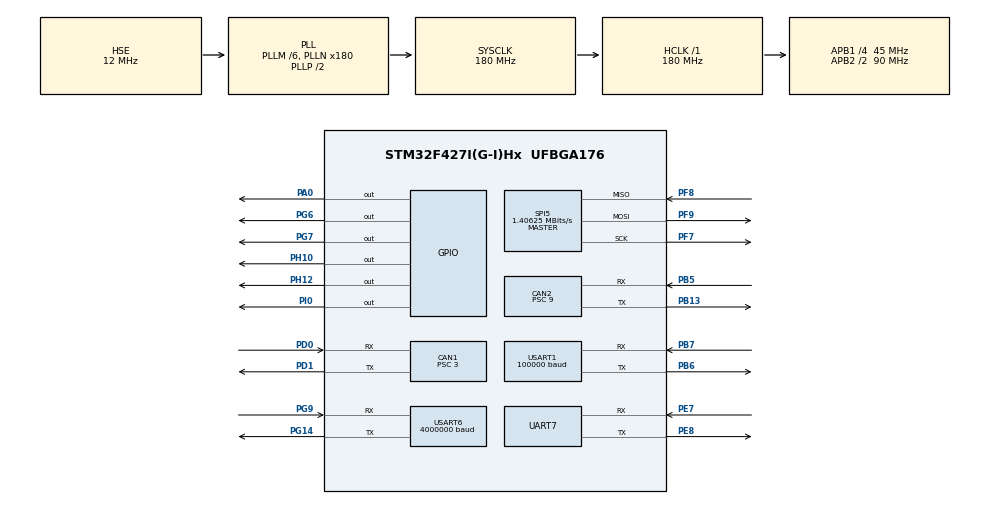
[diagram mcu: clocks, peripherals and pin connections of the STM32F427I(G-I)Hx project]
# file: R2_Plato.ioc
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CAN1.BS1=CAN_BS1_13TQ
CAN1.CalculateBaudRate=1000000
CAN1.CalculateTimeBit=1000
CAN1.CalculateTimeQuantum=66.66666666666666
CAN1.Prescaler=3
CAN2.BS1=CAN_BS1_6TQ
CAN2.BS2=CAN_BS2_7TQ
CAN2.CalculateBaudRate=357142
CAN2.CalculateTimeBit=2800
CAN2.CalculateTimeQuantum=200.0
CAN2.Prescaler=9
Dma.Request0=USART6_RX
Dma.Request1=USART6_TX
Dma.Request2=UART7_RX
Dma.Request3=UART7_TX
Dma.Request4=SPI5_RX
Dma.Request5=SPI5_TX
Dma.SPI5_RX.4.Direction=DMA_PERIPH_TO_MEMORY
Dma.SPI5_RX.4.FIFOMode=DMA_FIFOMODE_DISABLE
Dma.SPI5_RX.4.Instance=DMA2_Stream3
Dma.SPI5_RX.4.MemDataAlignment=DMA_MDATAALIGN_BYTE
Dma.SPI5_RX.4.MemInc=DMA_MINC_ENABLE
Dma.SPI5_RX.4.Mode=DMA_NORMAL
Dma.SPI5_RX.4.PeriphDataAlignment=DMA_PDATAALIGN_BYTE
Dma.SPI5_RX.4.PeriphInc=DMA_PINC_DISABLE
Dma.SPI5_RX.4.Priority=DMA_PRIORITY_HIGH
Dma.SPI5_TX.5.Direction=DMA_MEMORY_TO_PERIPH
Dma.SPI5_TX.5.FIFOMode=DMA_FIFOMODE_DISABLE
Dma.SPI5_TX.5.Instance=DMA2_Stream4
Dma.SPI5_TX.5.MemDataAlignment=DMA_MDATAALIGN_BYTE
Dma.SPI5_TX.5.MemInc=DMA_MINC_ENABLE
Dma.SPI5_TX.5.Mode=DMA_NORMAL
Dma.SPI5_TX.5.PeriphDataAlignment=DMA_PDATAALIGN_BYTE
Dma.SPI5_TX.5.PeriphInc=DMA_PINC_DISABLE
Dma.SPI5_TX.5.Priority=DMA_PRIORITY_HIGH
Dma.UART7_RX.2.Direction=DMA_PERIPH_TO_MEMORY
Dma.UART7_RX.2.FIFOMode=DMA_FIFOMODE_DISABLE
Dma.UART7_RX.2.Instance=DMA1_Stream3
Dma.UART7_RX.2.MemDataAlignment=DMA_MDATAALIGN_BYTE
Dma.UART7_RX.2.MemInc=DMA_MINC_ENABLE
Dma.UART7_RX.2.Mode=DMA_CIRCULAR
Dma.UART7_RX.2.PeriphDataAlignment=DMA_PDATAALIGN_BYTE
Dma.UART7_RX.2.PeriphInc=DMA_PINC_DISABLE
Dma.UART7_RX.2.Priority=DMA_PRIORITY_VERY_HIGH
Dma.UART7_TX.3.Direction=DMA_MEMORY_TO_PERIPH
Dma.UART7_TX.3.FIFOMode=DMA_FIFOMODE_DISABLE
Dma.UART7_TX.3.Instance=DMA1_Stream1
Dma.UART7_TX.3.MemDataAlignment=DMA_MDATAALIGN_BYTE
Dma.UART7_TX.3.MemInc=DMA_MINC_ENABLE
Dma.UART7_TX.3.Mode=DMA_NORMAL
Dma.UART7_TX.3.PeriphDataAlignment=DMA_PDATAALIGN_BYTE
Dma.UART7_TX.3.PeriphInc=DMA_PINC_DISABLE
Dma.UART7_TX.3.Priority=DMA_PRIORITY_VERY_HIGH
Dma.USART6_RX.0.Direction=DMA_PERIPH_TO_MEMORY
Dma.USART6_RX.0.FIFOMode=DMA_FIFOMODE_DISABLE
Dma.USART6_RX.0.Instance=DMA2_Stream1
Dma.USART6_RX.0.MemDataAlignment=DMA_MDATAALIGN_BYTE
Dma.USART6_RX.0.MemInc=DMA_MINC_ENABLE
Dma.USART6_RX.0.Mode=DMA_NORMAL
Dma.USART6_RX.0.PeriphDataAlignment=DMA_PDATAALIGN_BYTE
Dma.USART6_RX.0.PeriphInc=DMA_PINC_DISABLE
Dma.USART6_RX.0.Priority=DMA_PRIORITY_LOW
Dma.USART6_TX.1.Direction=DMA_MEMORY_TO_PERIPH
Dma.USART6_TX.1.FIFOMode=DMA_FIFOMODE_DISABLE
Dma.USART6_TX.1.Instance=DMA2_Stream6
Dma.USART6_TX.1.MemDataAlignment=DMA_MDATAALIGN_BYTE
Dma.USART6_TX.1.MemInc=DMA_MINC_ENABLE
Dma.USART6_TX.1.Mode=DMA_NORMAL
Dma.USART6_TX.1.PeriphDataAlignment=DMA_PDATAALIGN_BYTE
Dma.USART6_TX.1.PeriphInc=DMA_PINC_DISABLE
Dma.USART6_TX.1.Priority=DMA_PRIORITY_LOW
FREERTOS.Tasks01=defaultTask,0,128,StartDefaultTask,Default,NULL,Dynamic,NULL,NULL;myTask02,2,512,chassis_task,Default,NULL,Dynamic,NULL,NULL;myTask03,2,512,motor_control_task,Default,NULL,Dynamic,NULL,NULL
Mcu.Family=STM32F4
Mcu.Name=STM32F427I(G-I)Hx
Mcu.Package=UFBGA176
NVIC.CAN1_RX0_IRQn=true\:5\:0\:false\:false\:true\:true\:true\:true\:true
NVIC.DMA1_Stream1_IRQn=true\:5\:0\:false\:false\:true\:true\:false\:true\:true
NVIC.DMA1_Stream3_IRQn=true\:5\:0\:false\:false\:true\:true\:false\:true\:true
NVIC.DMA2_Stream1_IRQn=true\:5\:0\:false\:false\:true\:true\:false\:true\:true
NVIC.DMA2_Stream3_IRQn=true\:5\:0\:false\:false\:true\:true\:false\:true\:true
NVIC.DMA2_Stream4_IRQn=true\:5\:0\:false\:false\:true\:true\:false\:true\:true
NVIC.DMA2_Stream6_IRQn=true\:5\:0\:false\:false\:true\:true\:false\:true\:true
NVIC.PriorityGroup=NVIC_PRIORITYGROUP_4
NVIC.UART7_IRQn=true\:5\:0\:false\:false\:true\:true\:true\:true\:true
NVIC.USART6_IRQn=true\:5\:0\:false\:false\:true\:true\:true\:true\:true
PA0/WKUP.Signal=GPIO_Output
PA13.Mode=Serial_Wire
PA13.Signal=SYS_JTMS-SWDIO
PA14.Mode=Serial_Wire
PA14.Signal=SYS_JTCK-SWCLK
PB13.Mode=CAN_Activate
PB13.Signal=CAN2_TX
PB5.Mode=CAN_Activate
PB5.Signal=CAN2_RX
PB6.Mode=Asynchronous
PB6.Signal=USART1_TX
PB7.Mode=Asynchronous
PB7.Signal=USART1_RX
PC14/OSC32_IN.Mode=LSE-External-Oscillator
PC14/OSC32_IN.Signal=RCC_OSC32_IN
PC15/OSC32_OUT.Mode=LSE-External-Oscillator
PC15/OSC32_OUT.Signal=RCC_OSC32_OUT
PD0.Mode=CAN_Activate
PD0.Signal=CAN1_RX
PD1.Mode=CAN_Activate
PD1.Signal=CAN1_TX
PE7.Mode=Asynchronous
PE7.Signal=UART7_RX
PE8.Mode=Asynchronous
PE8.Signal=UART7_TX
PF7.Mode=Full_Duplex_Master
PF7.Signal=SPI5_SCK
PF8.Mode=Full_Duplex_Master
PF8.Signal=SPI5_MISO
PF9.Mode=Full_Duplex_Master
PF9.Signal=SPI5_MOSI
PG14.Mode=Asynchronous
PG14.Signal=USART6_TX
PG6.Signal=GPIO_Output
PG7.Signal=GPIO_Output
PG9.Mode=Asynchronous
PG9.Signal=USART6_RX
PH0/OSC_IN.Mode=HSE-External-Oscillator
PH0/OSC_IN.Signal=RCC_OSC_IN
PH1/OSC_OUT.Mode=HSE-External-Oscillator
PH1/OSC_OUT.Signal=RCC_OSC_OUT
PH10.Signal=GPIO_Output
PH12.Signal=GPIO_Output
PI0.Signal=GPIO_Output
ProjectManager.HeapSize=0x200
ProjectManager.StackSize=0x400
ProjectManager.TargetToolchain=MDK-ARM V5.32
RCC.48MHZClocksFreq_Value=90000000
RCC.AHBFreq_Value=180000000
RCC.APB1CLKDivider=RCC_HCLK_DIV4
RCC.APB1Freq_Value=45000000
RCC.APB1TimFreq_Value=90000000
RCC.APB2CLKDivider=RCC_HCLK_DIV2
RCC.APB2Freq_Value=90000000
RCC.APB2TimFreq_Value=180000000
RCC.CortexFreq_Value=180000000
RCC.HCLKFreq_Value=180000000
RCC.HSE_VALUE=12000000
RCC.HSI_VALUE=16000000
RCC.PLLM=6
RCC.PLLN=180
RCC.PLLSourceVirtual=RCC_PLLSOURCE_HSE
RCC.SYSCLKFreq_VALUE=180000000
RCC.SYSCLKSource=RCC_SYSCLKSOURCE_PLLCLK
RCC.VCOOutputFreq_Value=360000000
SPI5.BaudRatePrescaler=SPI_BAUDRATEPRESCALER_64
SPI5.CLKPhase=SPI_PHASE_2EDGE
SPI5.CalculateBaudRate=1.40625 MBits/s
SPI5.Direction=SPI_DIRECTION_2LINES
SPI5.Mode=SPI_MODE_MASTER
SPI5.VirtualType=VM_MASTER
UART7.VirtualMode=Asynchronous
USART1.BaudRate=100000
USART1.Parity=PARITY_EVEN
USART1.StopBits=STOPBITS_2
USART1.VirtualMode=VM_ASYNC
USART6.BaudRate=4000000
USART6.VirtualMode=VM_ASYNC
VP_FREERTOS_VS_CMSIS_V1.Mode=CMSIS_V1
board=custom

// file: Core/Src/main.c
/* USER CODE BEGIN Header */
/**
  ******************************************************************************
  * @file           : main.c
  * @brief          : Main program body
  ******************************************************************************
  * @attention
  *
  * Copyright (c) 2026 STMicroelectronics.
  * All rights reserved.
  *
  * This software is licensed under terms that can be found in the LICENSE file
  * in the root directory of this software component.
  * If no LICENSE file comes with this software, it is provided AS-IS.
  *
  ******************************************************************************
  */
/* USER CODE END Header */
#include "main.h"
#include "cmsis_os.h"
#include "can.h"
#include "dma.h"
#include "spi.h"
#include "usart.h"
#include "gpio.h"

void SystemClock_Config(void);
void MX_FREERTOS_Init(void);

int main(void)
{

  /* MCU Configuration--------------------------------------------------------*/

  /* Reset of all peripherals, Initializes the Flash interface and the Systick. */
  HAL_Init();

  /* Configure the system clock */
  SystemClock_Config();

  /* Initialize all configured peripherals */
  MX_GPIO_Init();
  MX_DMA_Init();
  MX_CAN1_Init();
  MX_USART1_UART_Init();
  MX_USART6_UART_Init();
  MX_CAN2_Init();
  MX_UART7_Init();
  MX_SPI5_Init();

  /* Call init function for freertos objects (in cmsis_os2.c) */
  MX_FREERTOS_Init();

  /* Start scheduler */
  osKernelStart();

  /* We should never get here as control is now taken by the scheduler */

  /* Infinite loop */
  while (1)
  {

  }
}

void SystemClock_Config(void)
{
  RCC_OscInitTypeDef RCC_OscInitStruct = {0};
  RCC_ClkInitTypeDef RCC_ClkInitStruct = {0};

  /** Configure the main internal regulator output voltage
  */
  __HAL_RCC_PWR_CLK_ENABLE();
  __HAL_PWR_VOLTAGESCALING_CONFIG(PWR_REGULATOR_VOLTAGE_SCALE1);

  /** Initializes the RCC Oscillators according to the specified parameters
  * in the RCC_OscInitTypeDef structure.
  */
  RCC_OscInitStruct.OscillatorType = RCC_OSCILLATORTYPE_HSE;
  RCC_OscInitStruct.HSEState = RCC_HSE_ON;
  RCC_OscInitStruct.PLL.PLLState = RCC_PLL_ON;
  RCC_OscInitStruct.PLL.PLLSource = RCC_PLLSOURCE_HSE;
  RCC_OscInitStruct.PLL.PLLM = 6;
  RCC_OscInitStruct.PLL.PLLN = 180;
  RCC_OscInitStruct.PLL.PLLP = RCC_PLLP_DIV2;
  RCC_OscInitStruct.PLL.PLLQ = 4;
  if (HAL_RCC_OscConfig(&RCC_OscInitStruct) != HAL_OK)
  {
    Error_Handler();
  }

  /** Activate the Over-Drive mode
  */
  if (HAL_PWREx_EnableOverDrive() != HAL_OK)
  {
    Error_Handler();
  }

  /** Initializes the CPU, AHB and APB buses clocks
  */
  RCC_ClkInitStruct.ClockType = RCC_CLOCKTYPE_HCLK|RCC_CLOCKTYPE_SYSCLK
                              |RCC_CLOCKTYPE_PCLK1|RCC_CLOCKTYPE_PCLK2;
  RCC_ClkInitStruct.SYSCLKSource = RCC_SYSCLKSOURCE_PLLCLK;
  RCC_ClkInitStruct.AHBCLKDivider = RCC_SYSCLK_DIV1;
  RCC_ClkInitStruct.APB1CLKDivider = RCC_HCLK_DIV4;
  RCC_ClkInitStruct.APB2CLKDivider = RCC_HCLK_DIV2;

  if (HAL_RCC_ClockConfig(&RCC_ClkInitStruct, FLASH_LATENCY_5) != HAL_OK)
  {
    Error_Handler();
  }
}

void Error_Handler(void)
{
  __disable_irq();
  while (1)
  {
  }
}

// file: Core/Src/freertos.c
/* USER CODE BEGIN Header */
/**
  ******************************************************************************
  * File Name          : freertos.c
  * Description        : Code for freertos applications
  ******************************************************************************
  * @attention
  *
  * Copyright (c) 2026 STMicroelectronics.
  * All rights reserved.
  *
  * This software is licensed under terms that can be found in the LICENSE file
  * in the root directory of this software component.
  * If no LICENSE file comes with this software, it is provided AS-IS.
  *
  ******************************************************************************
  */
/* USER CODE END Header */

#include "FreeRTOS.h"
#include "task.h"
#include "main.h"
#include "cmsis_os.h"

/* USER CODE BEGIN Includes */
#include "usart.h"
#include "sbus.h"
#include "bsp_can.h"
#include "pid.h"
#include "struct_typedef.h"
#include <stdio.h>
#include <string.h>
#include "gom_protocol.h"
#include "spi.h"
#include "imu_mpu6500.h"
#include "chassis_yaw_control.h"
#include "actuator_control.h"
#include "Unitree_control.h"
#include "chassis_control.h"
#include "chassis.h"
#include "drv_bsp.h"
#include "drv_can.h"
#include "dvc_motor.h"
#include "dvc_motor_dm.h"
#include "gpio.h"
#include "vofa_uart.h"
#include "actuator_control.h"
#include "chassis_task.h"
/* USER CODE END Includes */

/* USER CODE BEGIN PTD */
//pid_type_def chassis_pid[4];

uint32_t Counter = 0;
#define SAMPLE_FREQ 100.0f // 每秒采样 100 次
#define WAVE_FREQ 5.0f      // 波形频率 5Hz
/* 2π */
#define TWO_PI 6.28318530718f
float t = 0.0f; // 时间（秒）
const float dt = 1.0f / SAMPLE_FREQ;
int cbc=0;
/* USER CODE END PTD */

/* USER CODE BEGIN Variables */
extern motor_measure_t motor_chassis[7];
extern MotorData_t data[4];
extern uint16_t CH[18];
extern uint8_t pre_catch_buf[1];
volatile uint8_t gripper_cmd = 0x1 ; // 夹爪指令0xFF = no command, 0 = open, 1 = close
volatile uint8_t cylinder_cmd_1 = 0x01; /* 前轮迷你气缸: 0=伸出, 1=收回, 0xFF=无命令 */
volatile uint8_t cylinder_cmd_2 = 0x01; /* 后轮迷你气缸: 0=伸出, 1=收回, 0xFF=无命令 */
volatile uint8_t suction_cmd  = 0x00; /* 吸盘:   0=释放, 1=吸取, 0xFF=无命令 */
/* USER CODE END Variables */
osThreadId defaultTaskHandle;
osThreadId myTask02Handle;
osThreadId myTask03Handle;

/* USER CODE BEGIN FunctionPrototypes */
//void CAN_Motor_Call_Back(Struct_CAN_Rx_Buffer *Rx_Buffer)
//{
//    Actuator_CAN_RxCpltCallback(Rx_Buffer);
//    Chassis_3508_CAN_RxCallback(Rx_Buffer);
//}
void CAN_Motor_Call_Back(Struct_CAN_Rx_Buffer *Rx_Buffer)
{
    switch (Rx_Buffer->Header.StdId)
    {

        case (0x01):
        {
            Class_Motor_DM_Normal_CAN_RxCpltCallback(&motor_4310_1, Rx_Buffer->Data);
        }
        break;
        case (0x201):
        {
            Class_Motor_C620_CAN_RxCpltCallback(&motor_3508_1, Rx_Buffer->Data);
        }
        break;
        case (0x202):
        {
            Class_Motor_C620_CAN_RxCpltCallback(&motor_3508_2, Rx_Buffer->Data);
        }
				break;
        case (0x203):
        {
            Class_Motor_C620_CAN_RxCpltCallback(&motor_3508_3, Rx_Buffer->Data);
        }
        break;
        case (0x204):
        {
            Class_Motor_C620_CAN_RxCpltCallback(&motor_3508_4, Rx_Buffer->Data);
        }
        break;
        case (0x205):
        {
            /* 夹爪 3508：反馈数据交给夹爪电机实例 */
            Gripper_CAN_RxCallback(Rx_Buffer);
        }
        break;
    }
}

/* USER CODE END FunctionPrototypes */

void StartDefaultTask(void const * argument);
void chassis_task(void const * argument);
void motor_control_task(void const * argument);

void MX_FREERTOS_Init(void); /* (MISRA C 2004 rule 8.1) */

/* GetIdleTaskMemory prototype (linked to static allocation support) */
void vApplicationGetIdleTaskMemory( StaticTask_t **ppxIdleTaskTCBBuffer, StackType_t **ppxIdleTaskStackBuffer, uint32_t *pulIdleTaskStackSize );

/* USER CODE BEGIN GET_IDLE_TASK_MEMORY */
static StaticTask_t xIdleTaskTCBBuffer;
static StackType_t xIdleStack[configMINIMAL_STACK_SIZE];

void vApplicationGetIdleTaskMemory( StaticTask_t **ppxIdleTaskTCBBuffer, StackType_t **ppxIdleTaskStackBuffer, uint32_t *pulIdleTaskStackSize )
{
  *ppxIdleTaskTCBBuffer = &xIdleTaskTCBBuffer;
  *ppxIdleTaskStackBuffer = &xIdleStack[0];
  *pulIdleTaskStackSize = configMINIMAL_STACK_SIZE;
  /* place for user code */
}
/* USER CODE END GET_IDLE_TASK_MEMORY */

void MX_FREERTOS_Init(void) {
  /* USER CODE BEGIN Init */
    Actuator_Unitree_Init();
		// motion_control_init();
		// uint8_t ID[4], MODE[4];
		 HAL_UART_Receive_DMA(&huart7, pre_catch_buf, 1);
		// for (int z = 0; z < 4; z++)
		// {
		// ID[z] = z + 1;
		// MODE[z] = 1;
		// }
		// motor_select(ID,MODE);
//		  motor_mit_control(1, 0.06f, 0.03f, 0.10f, -10.0f, 0.1f);
//      motor_mit_control(2, 0.06f, 0.03f, 0.10f, -10.0f, 0.1f);
//  	  motion_control_run();
//		BSP_Init(BSP_DC24_LU_ON | BSP_DC24_LD_ON | BSP_DC24_RU_ON | BSP_DC24_RD_ON, 0.0f, 0.0f);
    CAN_Init(&hcan1, CAN_Motor_Call_Back);

    /* 夹爪 3508（ID5）初始化：速度环 + 角度环 */
    Gripper_3508_Init();

//    // 3508电机初始化（PID参数配置 + 电机初始化 + 目标速度归零）
//    Chassis_3508_Omega_Init();
//    Class_Motor_DM_Normal_Init(&motor_4310_1, &hcan1, 0x01, 0x01, Motor_DM_Control_Method_NORMAL_ANGLE_OMEGA, 12.5f, 30.0f, 10.0f, 20.0f);
    Actuator_Init();
//		Actuator_Set_Control(0.0f,PI,0.0f,PI);
		Chassis_Motion_t chassis_motion;
		Chassis_Param_Init(&chassis_motion);
  /* USER CODE END Init */

  /* Create the thread(s) */
  /* definition and creation of defaultTask */
  osThreadDef(defaultTask, StartDefaultTask, osPriorityNormal, 0, 128);
  defaultTaskHandle = osThreadCreate(osThread(defaultTask), NULL);

  /* definition and creation of myTask02 */
  osThreadDef(myTask02, chassis_task, osPriorityHigh, 0, 512);
  myTask02Handle = osThreadCreate(osThread(myTask02), NULL);

  /* definition and creation of myTask03 */
  osThreadDef(myTask03, motor_control_task, osPriorityHigh, 0, 512);
  myTask03Handle = osThreadCreate(osThread(myTask03), NULL);

}

void StartDefaultTask(void const * argument)
{
  for(;;)
  {
    osDelay(1);
  }
}

void chassis_task(void const * argument)
{
  /* USER CODE BEGIN chassis_task */
    // 3508电机初始化（PID参数配置 + 电机初始化 + 目标速度归零）
  // Chassis_3508_Omega_Init();
	Chassis_3508_Angle_Init();
	// Robo_chassis_init();
  for(;;)
  {

    Chassis_3508_Set_Target_Angles(PI/3, 0.0f, 0.0f, 0.0f);
    // Chassis_3508_Set_Target_Omegas(PI, 0.0f, 0.0f, 0.0f);
    Chassis_3508_PID_Run();

    /* 夹爪控制：闭合/保持/回开，必须在 CAN 发送前执行 */
    Gripper_Task();
    TIM_CAN_PeriodElapsedCallback();
			// Robo_chassis_task();
      osDelay(10);
  }
  /* USER CODE END chassis_task */
}

void motor_control_task(void const * argument)
{
  /* USER CODE BEGIN motor_control_task */
//		Actuator_Set_Control(-2.0f,PI,0.0f,PI);
		osDelay(1);
  /* Infinite loop */
  for(;;)
  {

//			Actuator_Set_Control(-2.38f,PI,0.0f,PI);
//			Actuator_KeepAlive();   /* 内部每 100ms 检测一次 DM 电机存活 */
//			if(rx_buf[6]==1) Actuator_Set_Control(-2.7f,PI,0.0f,PI);
//			osDelay(1);
			if(cbc<=3000){
					motor_mit_control(1, 0.05f, 0.03f, 0.0f, 10.0f, 0.3f);
					cbc+=1;
			}else{
					motor_mit_control(1, 0.05f, 0.03f, 0.0f, 0.0f, 0.3f);
					cbc=0;
					osDelay(3000);
			}
  	  motion_control_run();
    osDelay(10);
  /* USER CODE END motor_control_task */
}

}
